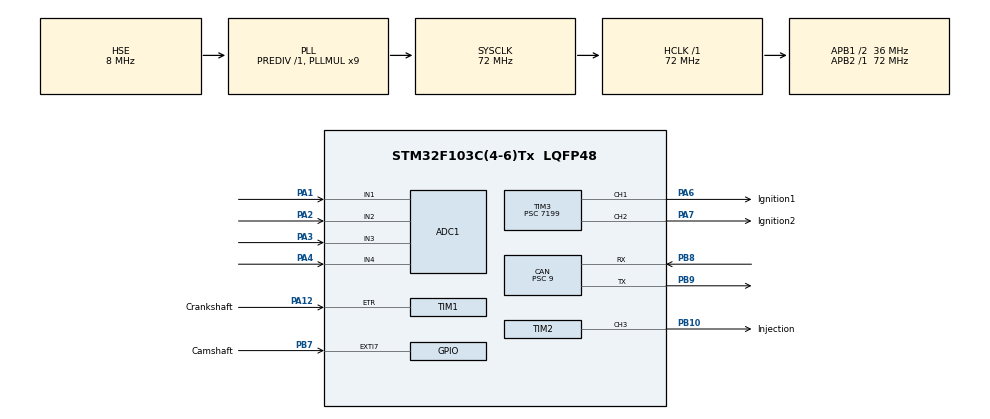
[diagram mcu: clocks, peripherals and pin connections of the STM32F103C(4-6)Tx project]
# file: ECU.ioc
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ADC1.Channel-0\#ChannelRegularConversion=ADC_CHANNEL_1
ADC1.Channel-1\#ChannelRegularConversion=ADC_CHANNEL_2
ADC1.Channel-2\#ChannelRegularConversion=ADC_CHANNEL_3
ADC1.Channel-3\#ChannelRegularConversion=ADC_CHANNEL_4
ADC1.ContinuousConvMode=ENABLE
ADC1.NbrOfConversion=4
ADC1.NbrOfConversionFlag=1
ADC1.Rank-0\#ChannelRegularConversion=1
ADC1.Rank-1\#ChannelRegularConversion=2
ADC1.Rank-2\#ChannelRegularConversion=3
ADC1.Rank-3\#ChannelRegularConversion=4
ADC1.SamplingTime-0\#ChannelRegularConversion=ADC_SAMPLETIME_1CYCLE_5
ADC1.SamplingTime-1\#ChannelRegularConversion=ADC_SAMPLETIME_1CYCLE_5
ADC1.SamplingTime-2\#ChannelRegularConversion=ADC_SAMPLETIME_1CYCLE_5
ADC1.SamplingTime-3\#ChannelRegularConversion=ADC_SAMPLETIME_1CYCLE_5
ADC1.master=1
CAN.BS1=CAN_BS1_3TQ
CAN.BS2=CAN_BS2_4TQ
CAN.CalculateBaudRate=500000
CAN.CalculateTimeBit=2000
CAN.CalculateTimeQuantum=250.0
CAN.Prescaler=9
Dma.ADC1.0.Direction=DMA_PERIPH_TO_MEMORY
Dma.ADC1.0.Instance=DMA1_Channel1
Dma.ADC1.0.MemDataAlignment=DMA_MDATAALIGN_WORD
Dma.ADC1.0.MemInc=DMA_MINC_ENABLE
Dma.ADC1.0.Mode=DMA_CIRCULAR
Dma.ADC1.0.PeriphDataAlignment=DMA_PDATAALIGN_WORD
Dma.ADC1.0.PeriphInc=DMA_PINC_DISABLE
Dma.ADC1.0.Priority=DMA_PRIORITY_LOW
Dma.Request0=ADC1
Mcu.Family=STM32F1
Mcu.Name=STM32F103C(4-6)Tx
Mcu.Package=LQFP48
NVIC.CAN1_RX1_IRQn=true\:0\:0\:false\:false\:true\:true\:true\:true
NVIC.CAN1_SCE_IRQn=true\:0\:0\:false\:false\:true\:true\:true\:true
NVIC.DMA1_Channel1_IRQn=true\:0\:0\:true\:false\:true\:false\:true\:true
NVIC.EXTI9_5_IRQn=true\:0\:0\:false\:false\:true\:true\:true\:true
NVIC.PriorityGroup=NVIC_PRIORITYGROUP_4
NVIC.TIM1_UP_IRQn=true\:0\:0\:false\:false\:true\:true\:true\:true
NVIC.TIM2_IRQn=true\:0\:0\:false\:false\:true\:true\:true\:true
NVIC.TIM3_IRQn=true\:0\:0\:false\:false\:true\:true\:true\:true
NVIC.USB_HP_CAN1_TX_IRQn=true\:0\:0\:false\:false\:true\:true\:true\:true
NVIC.USB_LP_CAN1_RX0_IRQn=true\:0\:0\:false\:false\:true\:true\:true\:true
PA1.Signal=ADCx_IN1
PA12.GPIO_Label=Crankshaft
PA12.Signal=S_TIM1_ETR
PA2.Signal=ADCx_IN2
PA3.Signal=ADCx_IN3
PA4.Signal=ADCx_IN4
PA6.GPIO_Label=Ignition1
PA6.Signal=S_TIM3_CH1
PA7.GPIO_Label=Ignition2
PA7.Signal=S_TIM3_CH2
PB10.GPIO_Label=Injection
PB10.Signal=S_TIM2_CH3
PB7.GPIO_Label=Camshaft
PB7.GPIO_ModeDefaultEXTI=GPIO_MODE_IT_FALLING
PB7.Signal=GPXTI7
PB8.Mode=CAN_Activate
PB8.Signal=CAN_RX
PB9.Mode=CAN_Activate
PB9.Signal=CAN_TX
PD0-OSC_IN.Mode=HSE-External-Oscillator
PD0-OSC_IN.Signal=RCC_OSC_IN
PD1-OSC_OUT.Mode=HSE-External-Oscillator
PD1-OSC_OUT.Signal=RCC_OSC_OUT
ProjectManager.HeapSize=0x200
ProjectManager.StackSize=0x400
ProjectManager.TargetToolchain=STM32CubeIDE
RCC.ADCPresc=RCC_ADCPCLK2_DIV8
RCC.AHBFreq_Value=72000000
RCC.APB1CLKDivider=RCC_HCLK_DIV2
RCC.APB1Freq_Value=36000000
RCC.APB1TimFreq_Value=72000000
RCC.APB2Freq_Value=72000000
RCC.APB2TimFreq_Value=72000000
RCC.HCLKFreq_Value=72000000
RCC.PLLMUL=RCC_PLL_MUL9
RCC.PLLSourceVirtual=RCC_PLLSOURCE_HSE
RCC.SYSCLKFreq_VALUE=72000000
RCC.SYSCLKSource=RCC_SYSCLKSOURCE_PLLCLK
RCC.USBFreq_Value=72000000
SH.ADCx_IN1.0=ADC1_IN1,IN1
SH.ADCx_IN2.0=ADC1_IN2,IN2
SH.ADCx_IN3.0=ADC1_IN3,IN3
SH.ADCx_IN4.0=ADC1_IN4,IN4
SH.S_TIM1_ETR.0=TIM1_ETR,ClockSourceETR_Mode2
SH.S_TIM2_CH3.0=TIM2_CH3,PWM Generation3 CH3
SH.S_TIM3_CH1.0=TIM3_CH1,PWM Generation1 CH1
SH.S_TIM3_CH2.0=TIM3_CH2,PWM Generation2 CH2
TIM1.Period=69
TIM1.Prescaler=0
TIM2.Channel-PWM\ Generation3\ CH3=TIM_CHANNEL_3
TIM2.OCFastMode_PWM-PWM\ Generation3\ CH3=TIM_OCFAST_ENABLE
TIM2.Prescaler=7199
TIM3.Channel-PWM\ Generation1\ CH1=TIM_CHANNEL_1
TIM3.Channel-PWM\ Generation2\ CH2=TIM_CHANNEL_2
TIM3.OCFastMode_PWM-PWM\ Generation2\ CH2=TIM_OCFAST_ENABLE
TIM3.Prescaler=7199
VP_TIM2_VS_ClockSourceINT.Mode=Internal
VP_TIM3_VS_ClockSourceINT.Mode=Internal
board=custom

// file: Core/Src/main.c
/* USER CODE BEGIN Header */
/**
  ******************************************************************************
  * @file           : main.c
  * @brief          : Main program body
  ******************************************************************************
  * @attention
  *
  * Copyright (c) 2023 STMicroelectronics.
  * All rights reserved.
  *
  * This software is licensed under terms that can be found in the LICENSE file
  * in the root directory of this software component.
  * If no LICENSE file comes with this software, it is provided AS-IS.
  *
  ******************************************************************************
  */
/* USER CODE END Header */
#include "main.h"

/* USER CODE BEGIN Includes */
#include "Lookup_Tables.h"
/* USER CODE END Includes */

ADC_HandleTypeDef hadc1;
DMA_HandleTypeDef hdma_adc1;

CAN_HandleTypeDef hcan;

TIM_HandleTypeDef htim1;
TIM_HandleTypeDef htim2;
TIM_HandleTypeDef htim3;

void SystemClock_Config(void);
static void MX_GPIO_Init(void);
static void MX_DMA_Init(void);
static void MX_ADC1_Init(void);
static void MX_CAN_Init(void);
static void MX_TIM1_Init(void);
static void MX_TIM2_Init(void);
static void MX_TIM3_Init(void);

/* USER CODE BEGIN 0 */
float RPM_val=0;
float inj=15;
float ign=500;	//50 ms
float ignition_duration=200; //200 ms

uint32_t data[4];

CAN_TxHeaderTypeDef TxHeader;
uint32_t CAN_Mailbox;
uint8_t can_data[8];
uint8_t rpm_data[3];//3bytes
/*
uint8_t tps_data[3];
uint8_t rpm_data[3];//3bytes
uint8_t tmp_data[3];//3 bytes
uint8_t map_data[3];
uint8_t o2_data[3];
*/

//variables for debugging
float fired2=0;
float fired3=0;
float sync= 0;
float cycles=0;
int counter = 0;

uint32_t current_time=0;
uint32_t elapsed_time= 0;
uint32_t last_time=0;

void HAL_ADC_ConvCpltCallback(ADC_HandleTypeDef* hadc)
{
  HAL_ADC_Stop_DMA(hadc);
}
void HAL_GPIO_EXTI_Callback(uint16_t GPIO_Pin){
  TIM1->CNT = 0;
  TIM2->CNT = 0;
  TIM3->CNT = 0;
  HAL_NVIC_DisableIRQ(EXTI9_5_IRQn);
  sync++;
}

void HAL_TIM_PeriodElapsedCallback(TIM_HandleTypeDef *htim){
	HAL_ADC_Start_DMA(&hadc1, data, 4);
    if (htim->Instance == TIM1) {
	current_time=HAL_GetTick();
	elapsed_time=current_time-last_time;
	RPM_val = (1 / (float)elapsed_time)*2*60*1000;
	last_time=current_time;

	TIM2->CCR3=(uint32_t) (inj*10);
	TIM3->CCR1=(uint32_t) (ign*10);
	TIM3->CCR2=(uint32_t) (ign*10+10*ignition_duration);
	TIM2->CNT=0;
	TIM3->CNT=0;
	cycles++;

	inj= Interpolate_2D(Injection_Timing,TBP,RPM,RPM_val,(0.04394*data[0]+20));
	ign= Interpolate_2D(Ignition_Timing,TBP,RPM,RPM_val,(0.04394*data[0]+20));
}
if (htim->Instance == TIM2){
	fired2++;
}
if (htim->Instance == TIM3){
	fired3++;
}
}
/* USER CODE END 0 */

int main(void)
{

  /* MCU Configuration--------------------------------------------------------*/

  /* Reset of all peripherals, Initializes the Flash interface and the Systick. */
  HAL_Init();

  /* Configure the system clock */
  SystemClock_Config();

  /* Initialize all configured peripherals */
  MX_GPIO_Init();
  MX_DMA_Init();
  MX_ADC1_Init();
  MX_CAN_Init();
  MX_TIM1_Init();
  MX_TIM2_Init();
  MX_TIM3_Init();
  /* USER CODE BEGIN 2 */
  HAL_TIM_Base_Start_IT(&htim1);//start the timer TIM2 in interrupt mode
  HAL_TIM_Base_Start_IT(&htim2);
  HAL_TIM_Base_Start_IT(&htim3);
  HAL_TIM_PWM_Start(&htim2, TIM_CHANNEL_3);
  HAL_TIM_PWM_Start(&htim3, TIM_CHANNEL_1);
  HAL_TIM_PWM_Start(&htim3, TIM_CHANNEL_2);
  HAL_CAN_Start(&hcan);
  HAL_ADC_Start_DMA(&hadc1, data, 4);

  //CAN Configuration
  TxHeader.IDE = CAN_ID_STD;
  TxHeader.RTR = CAN_RTR_DATA;
  TxHeader.DLC = 12;
  TxHeader.StdId = 0x450; //This is an arbi trary ID, it can be any 11-bits ID
  //Some params/
  uint16_t scaled_val;
  uint8_t rpm_msb,rpm_lsb,tmp_msb,tmp_lsb,map_msb,map_lsb,o2_msb,o2_lsb,tps_lsb,tps_msb;
  /* USER CODE END 2 */

  /* Infinite loop */
  /* USER CODE BEGIN WHILE */
  while (1)
  {

	    scaled_val = (uint16_t)RPM_val;
	  	rpm_msb = (scaled_val>>8)&0xff;
	  	rpm_lsb = scaled_val&(0x00ff);
	  	/*rpm_data[0] = 'R';//RPM identifier
	  	rpm_data[1] = rpm_msb;
	  	rpm_data[2] = rpm_lsb;
	  	if(HAL_CAN_AddTxMessage(&hcan, &TxHeader, rpm_data, &CAN_Mailbox) != HAL_OK){
	  		Error_Handler();
	  	}
	  	HAL_Delay(10);*/

	  	scaled_val = (uint16_t)data[0];
		tps_msb = (scaled_val>>8)&0xff;
		tps_lsb = scaled_val&(0x00ff);
		/*tps_data[0] = 'P';//RPM identifier
	    tps_data[1] = tps_msb;
		tps_data[2] = tps_lsb;
		if(HAL_CAN_AddTxMessage(&hcan, &TxHeader, tps_data, &CAN_Mailbox) != HAL_OK){
			Error_Handler();
		}
		HAL_Delay(10);*/

	  	//Sending the temperature reading/
	  	scaled_val = (uint16_t)data[1];
		tmp_msb = (scaled_val>>8)&0xff;
		tmp_lsb = scaled_val&(0x00ff);
		/*tmp_data[0] = 'T';//RPM identifier
		tmp_data[1] = tmp_msb;
		tmp_data[2] = tmp_lsb;
		if(HAL_CAN_AddTxMessage(&hcan, &TxHeader, tmp_data, &CAN_Mailbox) != HAL_OK){
			Error_Handler();
		}
		HAL_Delay(10);*/

		scaled_val = (uint16_t)data[2];
		map_msb = (scaled_val>>8)&0xff;
		map_lsb = scaled_val&(0x00ff);
		/*map_data[0] = 'M';//RPM identifier
		map_data[1] = map_msb;
		map_data[2] = map_lsb;
		if(HAL_CAN_AddTxMessage(&hcan, &TxHeader, map_data, &CAN_Mailbox) != HAL_OK){
			Error_Handler();
		}
		HAL_Delay(10);*/

	    scaled_val = (uint16_t)data[3];
		o2_msb = (scaled_val>>8)&0xff;
		o2_lsb = scaled_val&(0x00ff);
		/*o2_data[0] = 'O';//RPM identifier
		o2_data[1] = o2_msb;
		o2_data[2] = o2_lsb;
		if(HAL_CAN_AddTxMessage(&hcan, &TxHeader, o2_data, &CAN_Mailbox) != HAL_OK){
			Error_Handler();
		}
		HAL_Delay(10);*/
		rpm_data[0] = 'R';//3bytes
		rpm_data[1] = rpm_msb;
		rpm_data[2] = rpm_lsb;
		TxHeader.DLC = 3;
		if(HAL_CAN_AddTxMessage(&hcan, &TxHeader, rpm_data, &CAN_Mailbox) != HAL_OK){
					Error_Handler();
		}
		HAL_Delay(100);
		can_data[0]=tps_msb;
		can_data[1]=tps_lsb;
		can_data[2]=tmp_msb;
		can_data[3]=tmp_lsb;
		can_data[4]=map_msb;
		can_data[5]=map_lsb;
		can_data[6]=o2_msb;
		can_data[7]=o2_lsb;
		TxHeader.DLC = 8;
		if(HAL_CAN_AddTxMessage(&hcan, &TxHeader, can_data, &CAN_Mailbox) != HAL_OK){
					Error_Handler();
		}
		HAL_Delay(100);
	  	counter++;

    /* USER CODE END WHILE */

  }
}

void SystemClock_Config(void)
{
  RCC_OscInitTypeDef RCC_OscInitStruct = {0};
  RCC_ClkInitTypeDef RCC_ClkInitStruct = {0};
  RCC_PeriphCLKInitTypeDef PeriphClkInit = {0};

  /** Initializes the RCC Oscillators according to the specified parameters
  * in the RCC_OscInitTypeDef structure.
  */
  RCC_OscInitStruct.OscillatorType = RCC_OSCILLATORTYPE_HSE;
  RCC_OscInitStruct.HSEState = RCC_HSE_ON;
  RCC_OscInitStruct.HSEPredivValue = RCC_HSE_PREDIV_DIV1;
  RCC_OscInitStruct.HSIState = RCC_HSI_ON;
  RCC_OscInitStruct.PLL.PLLState = RCC_PLL_ON;
  RCC_OscInitStruct.PLL.PLLSource = RCC_PLLSOURCE_HSE;
  RCC_OscInitStruct.PLL.PLLMUL = RCC_PLL_MUL9;
  if (HAL_RCC_OscConfig(&RCC_OscInitStruct) != HAL_OK)
  {
    Error_Handler();
  }

  /** Initializes the CPU, AHB and APB buses clocks
  */
  RCC_ClkInitStruct.ClockType = RCC_CLOCKTYPE_HCLK|RCC_CLOCKTYPE_SYSCLK
                              |RCC_CLOCKTYPE_PCLK1|RCC_CLOCKTYPE_PCLK2;
  RCC_ClkInitStruct.SYSCLKSource = RCC_SYSCLKSOURCE_PLLCLK;
  RCC_ClkInitStruct.AHBCLKDivider = RCC_SYSCLK_DIV1;
  RCC_ClkInitStruct.APB1CLKDivider = RCC_HCLK_DIV2;
  RCC_ClkInitStruct.APB2CLKDivider = RCC_HCLK_DIV1;

  if (HAL_RCC_ClockConfig(&RCC_ClkInitStruct, FLASH_LATENCY_2) != HAL_OK)
  {
    Error_Handler();
  }
  PeriphClkInit.PeriphClockSelection = RCC_PERIPHCLK_ADC;
  PeriphClkInit.AdcClockSelection = RCC_ADCPCLK2_DIV8;
  if (HAL_RCCEx_PeriphCLKConfig(&PeriphClkInit) != HAL_OK)
  {
    Error_Handler();
  }
}

static void MX_ADC1_Init(void)
{

  ADC_ChannelConfTypeDef sConfig = {0};

  /** Common config
  */
  hadc1.Instance = ADC1;
  hadc1.Init.ScanConvMode = ADC_SCAN_ENABLE;
  hadc1.Init.ContinuousConvMode = ENABLE;
  hadc1.Init.DiscontinuousConvMode = DISABLE;
  hadc1.Init.ExternalTrigConv = ADC_SOFTWARE_START;
  hadc1.Init.DataAlign = ADC_DATAALIGN_RIGHT;
  hadc1.Init.NbrOfConversion = 4;
  if (HAL_ADC_Init(&hadc1) != HAL_OK)
  {
    Error_Handler();
  }

  /** Configure Regular Channel
  */
  sConfig.Channel = ADC_CHANNEL_1;
  sConfig.Rank = ADC_REGULAR_RANK_1;
  sConfig.SamplingTime = ADC_SAMPLETIME_1CYCLE_5;
  if (HAL_ADC_ConfigChannel(&hadc1, &sConfig) != HAL_OK)
  {
    Error_Handler();
  }

  /** Configure Regular Channel
  */
  sConfig.Channel = ADC_CHANNEL_2;
  sConfig.Rank = ADC_REGULAR_RANK_2;
  if (HAL_ADC_ConfigChannel(&hadc1, &sConfig) != HAL_OK)
  {
    Error_Handler();
  }

  /** Configure Regular Channel
  */
  sConfig.Channel = ADC_CHANNEL_3;
  sConfig.Rank = ADC_REGULAR_RANK_3;
  if (HAL_ADC_ConfigChannel(&hadc1, &sConfig) != HAL_OK)
  {
    Error_Handler();
  }

  /** Configure Regular Channel
  */
  sConfig.Channel = ADC_CHANNEL_4;
  sConfig.Rank = ADC_REGULAR_RANK_4;
  if (HAL_ADC_ConfigChannel(&hadc1, &sConfig) != HAL_OK)
  {
    Error_Handler();
  }

}

static void MX_CAN_Init(void)
{

  hcan.Instance = CAN1;
  hcan.Init.Prescaler = 9;
  hcan.Init.Mode = CAN_MODE_NORMAL;
  hcan.Init.SyncJumpWidth = CAN_SJW_1TQ;
  hcan.Init.TimeSeg1 = CAN_BS1_3TQ;
  hcan.Init.TimeSeg2 = CAN_BS2_4TQ;
  hcan.Init.TimeTriggeredMode = DISABLE;
  hcan.Init.AutoBusOff = DISABLE;
  hcan.Init.AutoWakeUp = DISABLE;
  hcan.Init.AutoRetransmission = DISABLE;
  hcan.Init.ReceiveFifoLocked = DISABLE;
  hcan.Init.TransmitFifoPriority = DISABLE;
  if (HAL_CAN_Init(&hcan) != HAL_OK)
  {
    Error_Handler();
  }
  /* USER CODE BEGIN CAN_Init 2 */
    CAN_FilterTypeDef canfilterconfig;
    canfilterconfig.FilterActivation = CAN_FILTER_ENABLE;
    canfilterconfig.FilterBank = 5;
    canfilterconfig.FilterFIFOAssignment = CAN_FILTER_FIFO0;
    canfilterconfig.FilterMode = CAN_FILTERMODE_IDMASK;
    canfilterconfig.FilterScale = CAN_FILTERSCALE_32BIT;
    canfilterconfig.FilterIdHigh = 0x00;
    canfilterconfig.FilterIdLow = 0;
    canfilterconfig.FilterMaskIdHigh = 0x00;//Or it can just be the filter ID 0x100<<5;
    canfilterconfig.FilterMaskIdLow = 0;
    canfilterconfig.SlaveStartFilterBank = 0;
    if(HAL_CAN_ConfigFilter(&hcan, &canfilterconfig) != HAL_OK){
  	  Error_Handler();
    };
  /* USER CODE END CAN_Init 2 */

}

static void MX_TIM1_Init(void)
{

  TIM_ClockConfigTypeDef sClockSourceConfig = {0};
  TIM_MasterConfigTypeDef sMasterConfig = {0};

  htim1.Instance = TIM1;
  htim1.Init.Prescaler = 0;
  htim1.Init.CounterMode = TIM_COUNTERMODE_UP;
  htim1.Init.Period = 69;
  htim1.Init.ClockDivision = TIM_CLOCKDIVISION_DIV1;
  htim1.Init.RepetitionCounter = 0;
  htim1.Init.AutoReloadPreload = TIM_AUTORELOAD_PRELOAD_DISABLE;
  if (HAL_TIM_Base_Init(&htim1) != HAL_OK)
  {
    Error_Handler();
  }
  sClockSourceConfig.ClockSource = TIM_CLOCKSOURCE_ETRMODE2;
  sClockSourceConfig.ClockPolarity = TIM_CLOCKPOLARITY_NONINVERTED;
  sClockSourceConfig.ClockPrescaler = TIM_CLOCKPRESCALER_DIV1;
  sClockSourceConfig.ClockFilter = 0;
  if (HAL_TIM_ConfigClockSource(&htim1, &sClockSourceConfig) != HAL_OK)
  {
    Error_Handler();
  }
  sMasterConfig.MasterOutputTrigger = TIM_TRGO_RESET;
  sMasterConfig.MasterSlaveMode = TIM_MASTERSLAVEMODE_DISABLE;
  if (HAL_TIMEx_MasterConfigSynchronization(&htim1, &sMasterConfig) != HAL_OK)
  {
    Error_Handler();
  }

}

static void MX_TIM2_Init(void)
{

  TIM_ClockConfigTypeDef sClockSourceConfig = {0};
  TIM_MasterConfigTypeDef sMasterConfig = {0};
  TIM_OC_InitTypeDef sConfigOC = {0};

  htim2.Instance = TIM2;
  htim2.Init.Prescaler = 7199;
  htim2.Init.CounterMode = TIM_COUNTERMODE_UP;
  htim2.Init.Period = 65535;
  htim2.Init.ClockDivision = TIM_CLOCKDIVISION_DIV1;
  htim2.Init.AutoReloadPreload = TIM_AUTORELOAD_PRELOAD_DISABLE;
  if (HAL_TIM_Base_Init(&htim2) != HAL_OK)
  {
    Error_Handler();
  }
  sClockSourceConfig.ClockSource = TIM_CLOCKSOURCE_INTERNAL;
  if (HAL_TIM_ConfigClockSource(&htim2, &sClockSourceConfig) != HAL_OK)
  {
    Error_Handler();
  }
  if (HAL_TIM_PWM_Init(&htim2) != HAL_OK)
  {
    Error_Handler();
  }
  sMasterConfig.MasterOutputTrigger = TIM_TRGO_RESET;
  sMasterConfig.MasterSlaveMode = TIM_MASTERSLAVEMODE_DISABLE;
  if (HAL_TIMEx_MasterConfigSynchronization(&htim2, &sMasterConfig) != HAL_OK)
  {
    Error_Handler();
  }
  sConfigOC.OCMode = TIM_OCMODE_PWM1;
  sConfigOC.Pulse = 0;
  sConfigOC.OCPolarity = TIM_OCPOLARITY_HIGH;
  sConfigOC.OCFastMode = TIM_OCFAST_ENABLE;
  if (HAL_TIM_PWM_ConfigChannel(&htim2, &sConfigOC, TIM_CHANNEL_3) != HAL_OK)
  {
    Error_Handler();
  }
  HAL_TIM_MspPostInit(&htim2);

}

static void MX_TIM3_Init(void)
{

  TIM_ClockConfigTypeDef sClockSourceConfig = {0};
  TIM_MasterConfigTypeDef sMasterConfig = {0};
  TIM_OC_InitTypeDef sConfigOC = {0};

  htim3.Instance = TIM3;
  htim3.Init.Prescaler = 7199;
  htim3.Init.CounterMode = TIM_COUNTERMODE_UP;
  htim3.Init.Period = 65535;
  htim3.Init.ClockDivision = TIM_CLOCKDIVISION_DIV1;
  htim3.Init.AutoReloadPreload = TIM_AUTORELOAD_PRELOAD_DISABLE;
  if (HAL_TIM_Base_Init(&htim3) != HAL_OK)
  {
    Error_Handler();
  }
  sClockSourceConfig.ClockSource = TIM_CLOCKSOURCE_INTERNAL;
  if (HAL_TIM_ConfigClockSource(&htim3, &sClockSourceConfig) != HAL_OK)
  {
    Error_Handler();
  }
  if (HAL_TIM_PWM_Init(&htim3) != HAL_OK)
  {
    Error_Handler();
  }
  sMasterConfig.MasterOutputTrigger = TIM_TRGO_RESET;
  sMasterConfig.MasterSlaveMode = TIM_MASTERSLAVEMODE_DISABLE;
  if (HAL_TIMEx_MasterConfigSynchronization(&htim3, &sMasterConfig) != HAL_OK)
  {
    Error_Handler();
  }
  sConfigOC.OCMode = TIM_OCMODE_PWM1;
  sConfigOC.Pulse = 0;
  sConfigOC.OCPolarity = TIM_OCPOLARITY_HIGH;
  sConfigOC.OCFastMode = TIM_OCFAST_DISABLE;
  if (HAL_TIM_PWM_ConfigChannel(&htim3, &sConfigOC, TIM_CHANNEL_1) != HAL_OK)
  {
    Error_Handler();
  }
  sConfigOC.OCFastMode = TIM_OCFAST_ENABLE;
  if (HAL_TIM_PWM_ConfigChannel(&htim3, &sConfigOC, TIM_CHANNEL_2) != HAL_OK)
  {
    Error_Handler();
  }
  HAL_TIM_MspPostInit(&htim3);

}

static void MX_DMA_Init(void)
{

  /* DMA controller clock enable */
  __HAL_RCC_DMA1_CLK_ENABLE();

  /* DMA interrupt init */
  /* DMA1_Channel1_IRQn interrupt configuration */
  HAL_NVIC_SetPriority(DMA1_Channel1_IRQn, 0, 0);
  HAL_NVIC_EnableIRQ(DMA1_Channel1_IRQn);

}

static void MX_GPIO_Init(void)
{
  GPIO_InitTypeDef GPIO_InitStruct = {0};

  /* GPIO Ports Clock Enable */
  __HAL_RCC_GPIOD_CLK_ENABLE();
  __HAL_RCC_GPIOA_CLK_ENABLE();
  __HAL_RCC_GPIOB_CLK_ENABLE();

  /*Configure GPIO pin : Camshaft_Pin */
  GPIO_InitStruct.Pin = Camshaft_Pin;
  GPIO_InitStruct.Mode = GPIO_MODE_IT_FALLING;
  GPIO_InitStruct.Pull = GPIO_NOPULL;
  HAL_GPIO_Init(Camshaft_GPIO_Port, &GPIO_InitStruct);

  /* EXTI interrupt init*/
  HAL_NVIC_SetPriority(EXTI9_5_IRQn, 0, 0);
  HAL_NVIC_EnableIRQ(EXTI9_5_IRQn);

}

void Error_Handler(void)
{
  __disable_irq();
  while (1)
  {
  }
}
